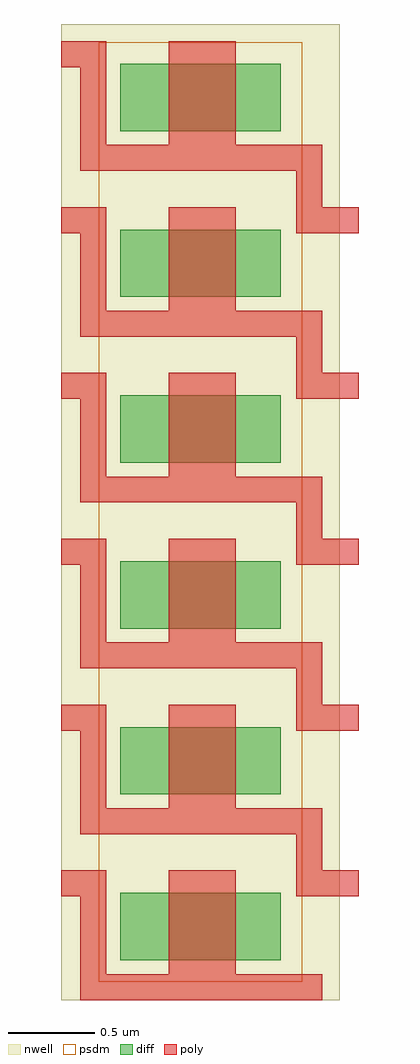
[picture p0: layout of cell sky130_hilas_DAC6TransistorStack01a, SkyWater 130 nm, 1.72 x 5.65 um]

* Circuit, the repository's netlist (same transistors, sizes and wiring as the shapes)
* Copyright 2020 The Hilas PDK Authors
* 
* This file is part of HILAS.
* 
* HILAS is free software: you can redistribute it and/or modify
* it under the terms of the GNU Lesser General Public License as published by
* the Free Software Foundation, version 3 of the License.
* 
* HILAS is distributed in the hope that it will be useful,
* but WITHOUT ANY WARRANTY; without even the implied warranty of
* MERCHANTABILITY or FITNESS FOR A PARTICULAR PURPOSE.  See the
* GNU Lesser General Public License for more details.
* 
* You should have received a copy of the GNU Lesser General Public License
* along with HILAS.  If not, see <https://www.gnu.org/licenses/>.
* 
* Licensed under the Lesser General Public License, Version 3.0 (the "License");
* you may not use this file except in compliance with the License.
* You may obtain a copy of the License at
* 
* https://www.gnu.org/licenses/lgpl-3.0.en.html
* 
* Unless required by applicable law or agreed to in writing, software
* distributed under the License is distributed on an "AS IS" BASIS,
* WITHOUT WARRANTIES OR CONDITIONS OF ANY KIND, either express or implied.
* See the License for the specific language governing permissions and
* limitations under the License.
* 
* SPDX-License-Identifier: LGPL-3.0
* 
* 

* NGSPICE file created from sky130_hilas_DAC6TransistorStack01a.ext - technology: sky130A

.subckt sky130_hilas_pFETdevice01aa SUB w_n160_n156#
X0 a_42_n38# a_n160_36# a_n92_n38# w_n160_n156# sky130_fd_pr__pfet_01v8 w=390000u l=390000u
.ends

.subckt sky130_hilas_pFETdevice01a SUB w_n160_n84#
X0 a_42_n38# a_n160_36# a_n92_n38# w_n160_n84# sky130_fd_pr__pfet_01v8 w=390000u l=390000u
.ends


* Top level circuit sky130_hilas_DAC6TransistorStack01a

Xsky130_hilas_pFETdevice01aa_0 SUB sky130_hilas_pFETdevice01a_0/w_n160_n84# sky130_hilas_pFETdevice01aa
Xsky130_hilas_pFETdevice01aa_1 SUB sky130_hilas_pFETdevice01a_0/w_n160_n84# sky130_hilas_pFETdevice01aa
Xsky130_hilas_pFETdevice01aa_2 SUB sky130_hilas_pFETdevice01a_0/w_n160_n84# sky130_hilas_pFETdevice01aa
Xsky130_hilas_pFETdevice01aa_3 SUB sky130_hilas_pFETdevice01a_0/w_n160_n84# sky130_hilas_pFETdevice01aa
Xsky130_hilas_pFETdevice01aa_4 SUB sky130_hilas_pFETdevice01a_0/w_n160_n84# sky130_hilas_pFETdevice01aa
Xsky130_hilas_pFETdevice01a_0 SUB sky130_hilas_pFETdevice01a_0/w_n160_n84# sky130_hilas_pFETdevice01a
.end

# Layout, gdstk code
import gdstk
lib = gdstk.Library(unit=1e-6, precision=1e-09)
def R(c, l, rs):  # rectangles x0, y0, x1, y1
    for r in rs: c.add(gdstk.rectangle(r[:2], r[2:], *l))
def A(c, l, x, y, w, h, nx, ny, dx, dy):  # array of equal rectangles
    R(c, l, [(x+i*dx, y+j*dy, x+i*dx+w, y+j*dy+h) for i in range(nx) for j in range(ny)])
nwell = (64, 20)
diff = (65, 20)
poly = (66, 20)
psdm = (94, 20)

sky130_hilas_pfetdevice0 = lib.new_cell('sky130_hilas_pFETdevice01a')
R(sky130_hilas_pfetdevice0, nwell, [(-0.8,-0.42,0.81,0.43)])
R(sky130_hilas_pfetdevice0, diff, [(-0.46,-0.19,0.47,0.2)])
R(sky130_hilas_pfetdevice0, poly, [(-0.69,-0.42,0.71,-0.27), (-0.69,-0.27,-0.54,0.18), (-0.18,-0.27,0.21,0.33), (-0.8,0.18,-0.54,0.33)])
R(sky130_hilas_pfetdevice0, psdm, [(-0.585,-0.315,0.595,0.325)])

c_sky130_hilas_pfetdevice0 = lib.new_cell('sky130_hilas_pFETdevice01aa')
R(c_sky130_hilas_pfetdevice0, nwell, [(-0.8,-0.78,0.81,0.43)])
R(c_sky130_hilas_pfetdevice0, diff, [(-0.46,-0.19,0.47,0.2)])
R(c_sky130_hilas_pfetdevice0, poly, [(0.56,-0.78,0.92,-0.63), (0.56,-0.63,0.71,-0.42), (-0.69,-0.42,0.71,-0.27), (-0.69,-0.27,-0.54,0.18), (-0.18,-0.27,0.21,0.33), (-0.8,0.18,-0.54,0.33)])
R(c_sky130_hilas_pfetdevice0, psdm, [(-0.585,-0.315,0.595,0.325)])

sky130_hilas_dac6transis = lib.new_cell('sky130_hilas_DAC6TransistorStack01a')
A(sky130_hilas_dac6transis, psdm, 0.495, -0.995, 1.18, 0.32, 1, 5, 0, 0.96)
sky130_hilas_dac6transis.add(gdstk.Reference(sky130_hilas_pfetdevice0, (1.08,-1.32)))
sky130_hilas_dac6transis.add(gdstk.Reference(c_sky130_hilas_pfetdevice0, (1.08,3.48)))
sky130_hilas_dac6transis.add(gdstk.Reference(c_sky130_hilas_pfetdevice0, (1.08,2.52)))
sky130_hilas_dac6transis.add(gdstk.Reference(c_sky130_hilas_pfetdevice0, (1.08,1.56)))
sky130_hilas_dac6transis.add(gdstk.Reference(c_sky130_hilas_pfetdevice0, (1.08,0.6)))
sky130_hilas_dac6transis.add(gdstk.Reference(c_sky130_hilas_pfetdevice0, (1.08,-0.36)))

lib.write_gds('sky130_hilas_DAC6TransistorStack01a.gds')
